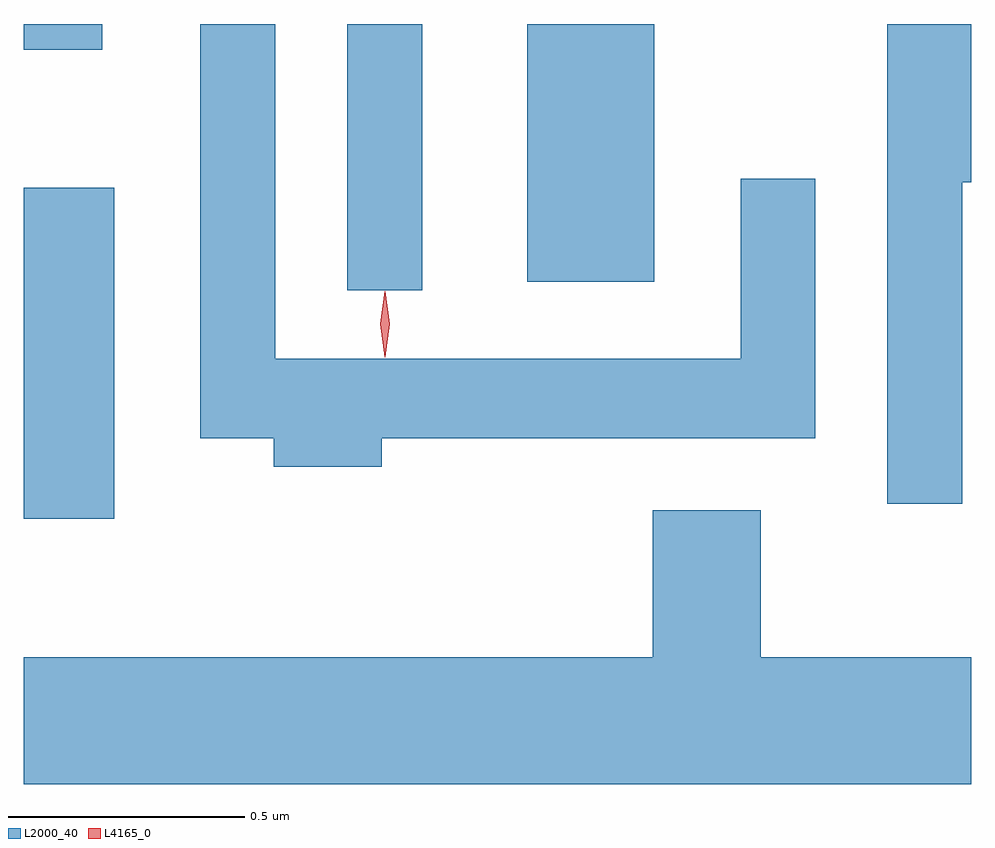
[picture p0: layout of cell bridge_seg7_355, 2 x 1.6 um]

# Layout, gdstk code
import gdstk
lib = gdstk.Library(unit=1e-6, precision=1e-09)
def R(c, l, rs):  # rectangles x0, y0, x1, y1
    for r in rs: c.add(gdstk.rectangle(r[:2], r[2:], *l))
def P(c, l, *ps):  # polygons
    for p in ps: c.add(gdstk.Polygon(p, *l))
L2000_40 = (2000, 40)
L4165_0 = (4165, 0)

bridge_seg7_355 = lib.new_cell('bridge_seg7_355')
R(bridge_seg7_355, L2000_40, [(1176.193,1770.376,1176.384,1771.074), (1176.876,1770.858,1177.034,1771.42), (1177.256,1770.876,1177.524,1771.42), (1176.193,1771.366,1176.359,1771.42)])
P(bridge_seg7_355, L2000_40, [(1178.174,1771.086),(1178.193,1771.086),(1178.193,1771.42),(1178.016,1771.42),(1178.016,1770.408),(1178.174,1770.408)],
  [(1176.949,1770.546),(1177.864,1770.546),(1177.864,1771.093),(1177.706,1771.093),(1177.706,1770.714),(1176.724,1770.714),(1176.724,1771.42),(1176.566,1771.42),(1176.566,1770.546),(1176.721,1770.546),(1176.721,1770.486),(1176.949,1770.486)],
  [(1178.193,1770.084),(1177.749,1770.084),(1177.749,1770.394),(1177.521,1770.394),(1177.521,1770.084),(1176.193,1770.084),(1176.193,1769.816),(1178.193,1769.816)])
P(bridge_seg7_355, L4165_0, [(1176.955,1770.717),(1176.946,1770.787),(1176.955,1770.856),(1176.956,1770.856),(1176.956,1770.856),(1176.966,1770.787),(1176.956,1770.717),(1176.956,1770.717)],
  [(1176.956,1770.719),(1176.955,1770.72),(1176.946,1770.786),(1176.955,1770.852),(1176.956,1770.853),(1176.956,1770.852),(1176.966,1770.786),(1176.956,1770.72)])

lib.write_gds('bridge_seg7_355.gds')
